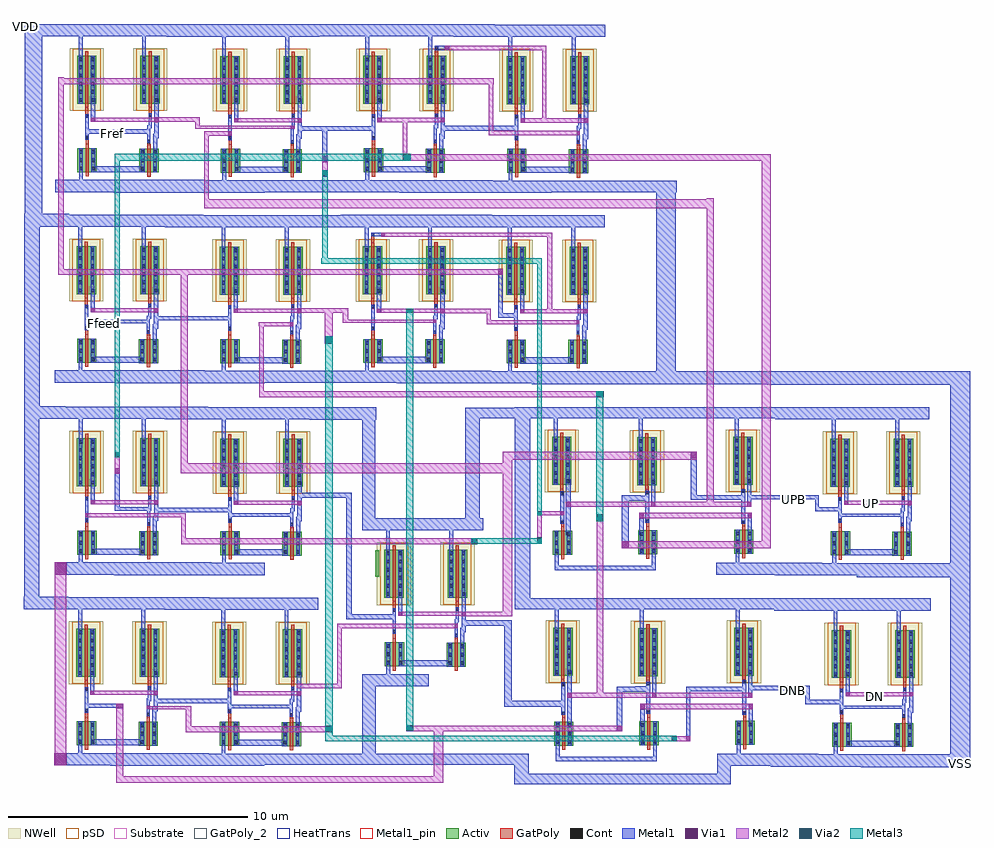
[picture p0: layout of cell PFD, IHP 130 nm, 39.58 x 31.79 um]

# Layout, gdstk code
import gdstk
lib = gdstk.Library(unit=1e-6, precision=5e-09)
def R(c, l, rs):  # rectangles x0, y0, x1, y1
    for r in rs: c.add(gdstk.rectangle(r[:2], r[2:], *l))
def A(c, l, x, y, w, h, nx, ny, dx, dy):  # array of equal rectangles
    R(c, l, [(x+i*dx, y+j*dy, x+i*dx+w, y+j*dy+h) for i in range(nx) for j in range(ny)])
Activ = (1, 0)
GatPoly = (5, 0)
GatPoly_2 = (5, 2)
Cont = (6, 0)
Metal1 = (8, 0)
Metal1_pin = (8, 2)
Metal2 = (10, 0)
pSD = (14, 0)
Via1 = (19, 0)
Via2 = (29, 0)
Metal3 = (30, 0)
NWell = (31, 0)
Substrate = (40, 0)
HeatTrans = (51, 0)

nmos_1 = lib.new_cell('nmos$1')
R(nmos_1, Activ, [(0,0,0.3,0.3), (0,0,0.81,1), (0.51,0,0.81,0.3)])
R(nmos_1, GatPoly, [(0.34,-0.18,0.47,1.18)])
R(nmos_1, GatPoly_2, [(0.34,-0.18,0.47,1.18)])
A(nmos_1, Cont, 0.07, 0.07, 0.16, 0.16, 1, 3, 0, 0.35)
A(nmos_1, Cont, 0.58, 0.07, 0.16, 0.16, 1, 3, 0, 0.35)
R(nmos_1, Metal1, [(0.07,0,0.23,1), (0.58,0,0.74,1)])
R(nmos_1, Metal1_pin, [(0.07,0,0.23,1), (0.58,0,0.74,1)])
R(nmos_1, HeatTrans, [(0.34,-0.18,0.47,1.18)])
nmos_1.add(gdstk.Label('nmos', (0.405,0.5), layer=63, texttype=0))
nmos_1.add(gdstk.Label('nmos', (0.405,0.5), layer=51, texttype=0))

pmos_1 = lib.new_cell('pmos$1')
R(pmos_1, Activ, [(0,0,0.3,0.3), (0,0,0.81,2), (0.51,0,0.81,0.3)])
R(pmos_1, GatPoly, [(0.34,-0.18,0.47,2.18), (0.34,-0.18,0.47,2.18)])
A(pmos_1, Cont, 0.07, 0.07, 0.16, 0.16, 1, 6, 0, 0.34)
A(pmos_1, Cont, 0.58, 0.07, 0.16, 0.16, 1, 6, 0, 0.34)
R(pmos_1, Metal1, [(0.07,0,0.23,2), (0.07,0,0.23,2), (0.58,0,0.74,2), (0.58,0,0.74,2)])
R(pmos_1, pSD, [(-0.18,-0.3,0.99,2.3)])
R(pmos_1, NWell, [(-0.31,-0.31,1.12,2.31)])
R(pmos_1, Substrate, [(0.51,0,0.81,0.3)])
R(pmos_1, HeatTrans, [(0.34,-0.18,0.47,2.18)])
pmos_1.add(gdstk.Label('pmos', (0.405,1), layer=63, texttype=0))
pmos_1.add(gdstk.Label('pmos', (0.405,1), layer=51, texttype=0))

pfd = lib.new_cell('PFD')
R(pfd, Activ, [(11.42,-19.135,11.58,-18.04)])
R(pfd, GatPoly, [(33.455,-25.19,33.58,-24.89), (7.85,-25.155,7.975,-24.855), (1.86,-25.135,1.985,-24.835), (30.87,-25.135,31,-24.725), (19.235,-25.12,19.37,-24.785), (22.795,-25.11,22.925,-24.725), (5.265,-25.1,5.395,-24.69), (26.81,-25.1,26.935,-24.775), (-0.725,-25.08,-0.595,-24.67), (30.855,-23.97,30.985,-23.5), (5.25,-23.935,5.38,-23.465), (33.505,-23.92,33.635,-23.46), (-0.74,-23.915,-0.61,-23.445), (7.9,-23.885,8.03,-23.425), (1.91,-23.865,2.04,-23.405), (19.2,-23.72,19.325,-23.36), (22.76,-23.685,22.895,-23.345), (26.775,-23.605,26.9,-23.35), (14.74,-21.83,14.865,-21.53), (12.155,-21.775,12.285,-21.365), (12.14,-20.61,12.27,-20.14), (14.79,-20.56,14.92,-20.1), (33.39,-17.19,33.515,-16.89), (7.87,-17.185,7.995,-16.885), (1.88,-17.165,2.005,-16.865), (19.19,-17.135,19.325,-16.8), (30.805,-17.135,30.935,-16.725), (5.285,-17.13,5.415,-16.72), (22.75,-17.125,22.88,-16.74), (26.765,-17.115,26.89,-16.79), (-0.705,-17.11,-0.575,-16.7), (30.79,-15.97,30.92,-15.5), (5.27,-15.965,5.4,-15.495), (-0.72,-15.945,-0.59,-15.475), (33.44,-15.92,33.57,-15.46), (7.92,-15.915,8.05,-15.455), (1.93,-15.895,2.06,-15.435), (19.155,-15.735,19.28,-15.375), (22.715,-15.7,22.85,-15.36), (26.73,-15.62,26.855,-15.365), (19.835,-9.165,19.96,-8.865), (7.86,-9.155,7.985,-8.855), (13.845,-9.145,13.97,-8.845), (1.87,-9.135,1.995,-8.835), (17.25,-9.11,17.38,-8.7), (5.275,-9.1,5.405,-8.69), (11.26,-9.09,11.39,-8.68), (-0.715,-9.08,-0.585,-8.67), (17.235,-7.945,17.365,-7.475), (5.26,-7.935,5.39,-7.465), (11.245,-7.925,11.375,-7.455), (-0.73,-7.915,-0.6,-7.445), (19.885,-7.895,20.015,-7.435), (7.91,-7.885,8.04,-7.425), (13.895,-7.875,14.025,-7.415), (1.92,-7.865,2.05,-7.405), (11.245,-5.27,11.375,-4.75), (19.855,-1.195,19.98,-0.895), (7.88,-1.185,8.005,-0.885), (13.865,-1.175,13.99,-0.875), (1.89,-1.165,2.015,-0.865), (17.27,-1.14,17.4,-0.73), (5.295,-1.13,5.425,-0.72), (11.28,-1.12,11.41,-0.71), (-0.695,-1.11,-0.565,-0.7), (17.255,0.025,17.385,0.495), (5.28,0.035,5.41,0.505), (11.265,0.045,11.395,0.515), (-0.71,0.055,-0.58,0.525), (19.905,0.075,20.035,0.535), (7.93,0.085,8.06,0.545), (13.915,0.095,14.045,0.555), (1.94,0.105,2.07,0.565), (13.915,2.675,14.045,3.06)])
R(pfd, Cont, [(33.455,-25.03,33.58,-24.895), (7.85,-24.995,7.975,-24.86), (1.86,-24.975,1.985,-24.84), (19.235,-24.91,19.37,-24.785), (26.81,-24.9,26.935,-24.78), (22.795,-24.875,22.925,-24.74), (30.87,-24.86,30.99,-24.725), (5.265,-24.825,5.385,-24.69), (-0.725,-24.805,-0.605,-24.67), (30.855,-23.965,30.985,-23.82), (5.25,-23.93,5.38,-23.785), (33.505,-23.92,33.63,-23.785), (-0.74,-23.91,-0.61,-23.765), (7.9,-23.885,8.025,-23.75), (1.91,-23.865,2.035,-23.73), (19.2,-23.72,19.32,-23.575), (22.76,-23.685,22.895,-23.54), (26.775,-23.605,26.9,-23.475), (14.74,-21.67,14.865,-21.535), (12.155,-21.5,12.275,-21.365), (12.14,-20.605,12.27,-20.46), (14.79,-20.56,14.915,-20.425), (33.39,-17.03,33.515,-16.895), (7.87,-17.025,7.995,-16.89), (1.88,-17.005,2.005,-16.87), (19.19,-16.925,19.325,-16.8), (26.765,-16.915,26.89,-16.795), (22.75,-16.89,22.88,-16.755), (30.805,-16.86,30.925,-16.725), (5.285,-16.855,5.405,-16.72), (-0.705,-16.835,-0.585,-16.7), (30.79,-15.965,30.92,-15.82), (5.27,-15.96,5.4,-15.815), (-0.72,-15.94,-0.59,-15.795), (33.44,-15.92,33.565,-15.785), (7.92,-15.915,8.045,-15.78), (1.93,-15.895,2.055,-15.76), (19.155,-15.735,19.275,-15.59), (22.715,-15.7,22.85,-15.555), (26.73,-15.62,26.855,-15.49), (19.835,-9.005,19.96,-8.87), (7.86,-8.995,7.985,-8.86), (13.845,-8.985,13.97,-8.85), (1.87,-8.975,1.995,-8.84), (17.25,-8.835,17.37,-8.7), (5.275,-8.825,5.395,-8.69), (11.26,-8.815,11.38,-8.68), (-0.715,-8.805,-0.595,-8.67), (17.235,-7.94,17.365,-7.795), (5.26,-7.93,5.39,-7.785), (11.245,-7.92,11.375,-7.775), (-0.73,-7.91,-0.6,-7.765), (19.885,-7.895,20.01,-7.76), (7.91,-7.885,8.035,-7.75), (13.895,-7.875,14.02,-7.74), (1.92,-7.865,2.045,-7.73), (11.245,-4.91,11.375,-4.75), (19.855,-1.035,19.98,-0.9), (7.88,-1.025,8.005,-0.89), (13.865,-1.015,13.99,-0.88), (1.89,-1.005,2.015,-0.87), (17.27,-0.865,17.39,-0.73), (5.295,-0.855,5.415,-0.72), (11.28,-0.845,11.4,-0.71), (-0.695,-0.835,-0.575,-0.7), (17.255,0.03,17.385,0.175), (5.28,0.04,5.41,0.185), (11.265,0.05,11.395,0.195), (-0.71,0.06,-0.58,0.205), (19.905,0.075,20.03,0.21), (7.93,0.085,8.055,0.22), (13.915,0.095,14.04,0.23), (1.94,0.105,2.065,0.24), (13.915,2.885,14.045,3.055)])
R(pfd, Metal1, [(17.23,-27.81,17.835,-26.535), (17.23,-27.81,26.29,-27.375), (25.715,-27.785,26.29,-26.54), (31.74,-27.11,36.3,-26.57), (35.47,-27.11,36.3,-18.57), (27.955,-27.08,29.955,-26.54), (29.59,-27.08,32.38,-26.57), (25.715,-27.05,28.505,-26.54), (0.345,-27.045,4.455,-26.515), (3.985,-27.045,6.775,-26.535), (-2.005,-27.025,0.785,-26.515), (5.95,-27.015,17.81,-26.535), (10.875,-27.015,11.43,-23.21), (30.6,-26.895,30.755,-26.04), (18.965,-26.865,19.13,-25.97), (4.995,-26.86,5.15,-26.005), (18.965,-26.86,23.195,-26.67), (23.035,-26.86,23.2,-25.935), (-0.995,-26.84,-0.84,-25.985), (26.54,-26.645,26.695,-25.97), (31.11,-26.25,33.345,-25.995), (5.505,-26.215,7.74,-25.96), (-0.485,-26.195,1.75,-25.94), (24.425,-26.025,24.6,-23.735), (21.515,-25.6,21.75,-23.75), (33.695,-25.475,33.86,-24.64), (8.09,-25.44,8.255,-24.605), (2.1,-25.42,2.265,-24.585), (19.44,-25.395,19.635,-23.05), (22.495,-25.395,22.685,-24.45), (27.045,-25.385,27.21,-24.455), (33.455,-25.025,33.58,-24.275), (7.85,-24.99,7.975,-24.24), (1.86,-24.97,1.985,-24.22), (19.2,-24.91,19.37,-23.56), (26.775,-24.91,26.935,-23.47), (30.855,-24.885,31,-23.82), (22.76,-24.865,22.925,-23.53), (5.25,-24.85,5.395,-23.785), (-0.74,-24.83,-0.595,-23.765), (33.695,-24.83,33.925,-24.645), (33.745,-24.83,33.925,-23.165), (8.09,-24.795,8.32,-24.61), (8.14,-24.795,8.32,-23.13), (2.1,-24.775,2.33,-24.59), (2.15,-24.775,2.33,-23.11), (30.855,-24.67,33.58,-24.535), (5.25,-24.65,7.975,-24.49), (-0.74,-24.63,0.87,-24.445), (16.815,-24.57,17.135,-20.96), (16.815,-24.57,19.37,-24.33), (29.395,-24.475,31,-24.28), (29.395,-24.475,29.595,-23.71), (2.15,-24.435,5.395,-24.255), (33.455,-24.41,33.635,-24.28), (33.505,-24.41,33.635,-23.785), (7.85,-24.375,8.03,-24.245), (7.9,-24.375,8.03,-23.75), (1.86,-24.355,2.04,-24.225), (1.91,-24.355,2.04,-23.73), (23,-24.205,23.165,-23.075), (27.015,-24.205,27.19,-23.055), (31.095,-24.14,31.27,-23.165), (5.49,-24.105,5.665,-23.13), (-0.5,-24.085,-0.325,-23.11), (21.52,-23.95,22.51,-23.75), (22.29,-23.95,22.925,-23.73), (24.425,-23.925,26.935,-23.735), (27.015,-23.89,29.585,-23.71), (10.875,-23.72,13.665,-23.21), (11.885,-23.535,12.04,-22.68), (12.395,-22.89,14.63,-22.635), (14.98,-22.115,15.145,-21.28), (14.74,-21.665,14.865,-20.915), (33.235,-21.615,33.395,-20.335), (30.585,-21.6,30.75,-20.36), (7.63,-21.58,7.79,-20.3), (4.98,-21.565,5.145,-20.325), (1.64,-21.56,1.8,-20.28), (-1.01,-21.545,-0.845,-20.305), (12.14,-21.525,12.285,-20.46), (22.49,-21.525,22.645,-20.39), (18.93,-21.5,19.09,-20.415), (26.505,-21.495,26.66,-20.4), (14.98,-21.47,15.21,-21.285), (15.03,-21.47,15.21,-19.805), (15.03,-21.19,17.135,-20.96), (14.74,-21.05,14.92,-20.92), (14.79,-21.05,14.92,-20.425), (10.195,-20.91,12.285,-20.715), (10.195,-20.905,10.445,-15.62), (12.38,-20.78,12.555,-19.805), (28.1,-20.56,29.86,-20.04), (29.59,-20.56,34.645,-20.05), (2.605,-20.525,4.47,-19.995), (3.985,-20.525,9.04,-20.015), (-3.28,-20.505,-1.42,-19.985), (-3.27,-20.505,-2.63,-12.015), (-2.005,-20.505,3.05,-19.995), (17.25,-20.505,17.9,-12.055), (17.555,-20.505,28.525,-20.04), (31.555,-19.165,36.3,-18.57), (35.47,-19.145,36.3,-10.545), (28.12,-19.08,30.1,-18.555), (29.525,-19.08,32.315,-18.57), (0.48,-19.075,4.555,-18.545), (4.005,-19.075,6.795,-18.565), (25.67,-19.065,28.46,-18.555), (-1.985,-19.055,0.805,-18.545), (30.535,-18.895,30.69,-18.04), (5.015,-18.89,5.17,-18.035), (18.92,-18.88,19.085,-17.985), (18.92,-18.875,23.15,-18.685), (22.99,-18.875,23.155,-17.95), (-0.975,-18.87,-0.82,-18.015), (26.495,-18.66,26.65,-17.985), (14.52,-18.255,14.68,-16.975), (31.045,-18.25,33.28,-17.995), (5.525,-18.245,7.76,-17.99), (11.87,-18.24,12.035,-17), (-0.465,-18.225,1.77,-17.97), (21.735,-17.955,22.03,-15.735), (33.63,-17.475,33.795,-16.64), (8.11,-17.47,8.275,-16.635), (2.12,-17.45,2.285,-16.615), (19.395,-17.41,19.59,-15.065), (22.45,-17.41,22.64,-16.465), (27,-17.4,27.165,-16.47), (10.875,-17.2,15.93,-16.69), (10.875,-17.2,11.415,-12.045), (15.19,-17.2,15.78,-12.09), (33.39,-17.025,33.515,-16.275), (7.87,-17.02,7.995,-16.27), (1.88,-17,2.005,-16.25), (19.155,-16.925,19.325,-15.575), (26.73,-16.925,26.89,-15.485), (30.79,-16.885,30.935,-15.82), (5.27,-16.88,5.415,-15.815), (22.715,-16.88,22.88,-15.545), (-0.72,-16.86,-0.575,-15.795), (33.63,-16.83,33.86,-16.645), (33.68,-16.83,33.86,-15.165), (8.11,-16.825,8.34,-16.64), (8.16,-16.825,8.34,-15.16), (2.12,-16.805,2.35,-16.62), (2.17,-16.805,2.35,-15.14), (5.27,-16.635,7.995,-16.485), (30.79,-16.63,33.515,-16.505), (2.17,-16.455,5.415,-16.25), (29.82,-16.41,30.935,-16.24), (29.82,-16.41,29.97,-15.735), (33.39,-16.41,33.57,-16.28), (33.44,-16.41,33.57,-15.785), (7.87,-16.405,8.05,-16.275), (7.92,-16.405,8.05,-15.78), (0.515,-16.385,0.73,-14.6), (0.515,-16.385,2.05,-16.24), (1.88,-16.385,2.06,-16.255), (1.93,-16.385,2.06,-15.76), (22.955,-16.22,23.12,-15.09), (26.97,-16.22,27.145,-15.07), (31.03,-16.14,31.205,-15.165), (5.51,-16.135,5.685,-15.16), (-0.48,-16.115,-0.305,-15.14), (21.735,-15.965,22.515,-15.735), (22.245,-15.965,22.88,-15.745), (24.62,-15.915,26.89,-15.73), (24.62,-15.915,24.87,-13.905), (26.97,-15.905,29.965,-15.735), (8.16,-15.83,10.445,-15.62), (33.17,-13.615,33.33,-12.335), (7.65,-13.61,7.81,-12.33), (30.52,-13.6,30.685,-12.36), (5,-13.595,5.165,-12.355), (1.66,-13.59,1.82,-12.31), (-0.99,-13.575,-0.825,-12.335), (22.445,-13.54,22.6,-12.405), (18.885,-13.515,19.045,-12.43), (26.46,-13.51,26.615,-12.415), (8.675,-12.57,11.45,-12.045), (28.145,-12.56,29.9,-12.055), (29.525,-12.56,34.58,-12.05), (2.605,-12.555,4.41,-12.025), (4.005,-12.555,9.06,-12.045), (-3.27,-12.535,-2.62,-3.955), (-3.08,-12.535,-1.55,-12.015), (-1.985,-12.535,3.07,-12.025), (15.19,-12.52,18.005,-12.07), (17.51,-12.52,28.48,-12.055), (27.82,-11.105,36.3,-10.545), (17.965,-11.085,28.525,-10.545), (23.175,-11.085,23.985,-2.575), (12.325,-11.055,16.275,-10.525), (15.97,-11.055,18.76,-10.545), (0.56,-11.045,4.295,-10.515), (3.995,-11.045,6.785,-10.535), (6.49,-11.035,10.325,-10.535), (9.98,-11.035,12.77,-10.525), (-1.995,-11.025,0.795,-10.515), (16.98,-10.87,17.135,-10.015), (5.005,-10.86,5.16,-10.005), (10.99,-10.85,11.145,-9.995), (-0.985,-10.84,-0.83,-9.985), (17.49,-10.225,19.725,-9.97), (5.515,-10.215,7.75,-9.96), (11.5,-10.205,13.735,-9.95), (-0.475,-10.195,1.76,-9.94), (20.075,-9.45,20.24,-8.615), (8.1,-9.44,8.265,-8.605), (14.085,-9.43,14.25,-8.595), (2.11,-9.42,2.275,-8.585), (19.835,-9,19.96,-8.25), (7.86,-8.99,7.985,-8.24), (13.845,-8.98,13.97,-8.23), (1.87,-8.97,1.995,-8.22), (17.235,-8.86,17.38,-7.795), (5.26,-8.85,5.405,-7.785), (11.245,-8.84,11.39,-7.775), (-0.73,-8.83,-0.585,-7.765), (20.075,-8.805,20.305,-8.62), (20.125,-8.805,20.305,-7.14), (8.1,-8.795,8.33,-8.61), (8.15,-8.795,8.33,-7.13), (14.085,-8.785,14.315,-8.6), (14.135,-8.785,14.315,-7.12), (2.11,-8.775,2.34,-8.59), (2.16,-8.775,2.34,-7.11), (-0.73,-8.53,1.995,-8.39), (2.16,-8.405,5.405,-8.24), (19.835,-8.385,20.015,-8.255), (19.885,-8.385,20.015,-7.76), (7.86,-8.375,8.04,-8.245), (7.91,-8.375,8.04,-7.75), (13.845,-8.365,14.025,-8.235), (13.895,-8.365,14.025,-7.74), (1.87,-8.355,2.05,-8.225), (1.92,-8.355,2.05,-7.73), (16.565,-8.3,16.75,-6.27), (16.575,-8.3,17.38,-8.12), (17.475,-8.115,17.65,-7.14), (5.5,-8.105,5.675,-7.13), (11.485,-8.095,11.66,-7.12), (-0.49,-8.085,-0.315,-7.11), (19.615,-5.59,19.775,-4.31), (7.64,-5.58,7.8,-4.3), (16.965,-5.575,17.13,-4.335), (13.625,-5.57,13.785,-4.29), (4.99,-5.565,5.155,-4.325), (1.65,-5.56,1.81,-4.28), (10.975,-5.555,11.14,-4.315), (-1,-5.545,-0.835,-4.305), (11.245,-4.91,11.805,-4.75), (14.695,-4.535,16.315,-4.005), (15.97,-4.535,21.025,-4.025), (2.64,-4.525,4.235,-3.995), (3.995,-4.525,9.05,-4.015), (8.725,-4.515,10.305,-4.015), (9.98,-4.515,15.035,-4.005), (-3.27,-4.505,-1.37,-3.955), (-3.25,-4.505,-2.505,3.975), (-1.995,-4.505,3.06,-3.995), (12.425,-3.085,16.33,-2.555), (15.99,-3.085,18.78,-2.575), (0.48,-3.075,4.315,-2.545), (4.015,-3.075,6.805,-2.565), (6.51,-3.065,10.265,-2.565), (10,-3.065,12.79,-2.555), (18.11,-3.06,24.035,-2.575), (-1.975,-3.055,0.815,-2.545), (17,-2.9,17.155,-2.045), (5.025,-2.89,5.18,-2.035), (11.01,-2.88,11.165,-2.025), (-0.965,-2.87,-0.81,-2.015), (17.51,-2.255,19.745,-2), (5.535,-2.245,7.77,-1.99), (11.52,-2.235,13.755,-1.98), (-0.455,-2.225,1.78,-1.97), (9.195,-1.8,9.42,-0.305), (20.095,-1.48,20.26,-0.645), (8.12,-1.47,8.285,-0.635), (14.105,-1.46,14.27,-0.625), (2.13,-1.45,2.295,-0.615), (19.855,-1.03,19.98,-0.28), (7.88,-1.02,8.005,-0.27), (13.865,-1.01,13.99,-0.26), (1.89,-1,2.015,-0.25), (17.255,-0.89,17.4,0.175), (5.28,-0.88,5.425,0.185), (11.265,-0.87,11.41,0.195), (-0.71,-0.86,-0.565,0.205), (20.095,-0.835,20.325,-0.65), (20.145,-0.835,20.325,0.83), (8.12,-0.825,8.35,-0.64), (8.17,-0.825,8.35,0.84), (14.105,-0.815,14.335,-0.63), (14.155,-0.815,14.335,0.85), (2.13,-0.805,2.36,-0.62), (2.18,-0.805,2.36,0.86), (-0.71,-0.605,2.015,-0.435), (8.17,-0.495,11.41,-0.305), (14.155,-0.495,17.4,-0.285), (19.855,-0.415,20.035,-0.285), (19.905,-0.415,20.035,0.21), (7.88,-0.405,8.06,-0.275), (7.93,-0.405,8.06,0.22), (13.865,-0.395,14.045,-0.265), (13.915,-0.395,14.045,0.23), (1.89,-0.385,2.07,-0.255), (1.94,-0.385,2.07,0.24), (17.495,-0.145,17.67,0.83), (5.52,-0.135,5.695,0.84), (11.505,-0.125,11.68,0.85), (-0.47,-0.115,-0.295,0.86), (19.635,2.38,19.795,3.66), (7.66,2.39,7.82,3.67), (16.985,2.395,17.15,3.635), (13.645,2.4,13.805,3.68), (5.01,2.405,5.175,3.645), (1.67,2.41,1.83,3.69), (10.995,2.415,11.16,3.655), (-0.98,2.425,-0.815,3.665), (13.915,2.885,14.52,3.06), (14.695,3.435,16.41,3.965), (15.99,3.435,21.045,3.945), (2.695,3.445,4.355,3.975), (4.015,3.445,9.07,3.955), (8.685,3.455,10.4,3.955), (10,3.455,15.055,3.965), (-3.25,3.465,-1.47,3.975), (-1.975,3.465,3.08,3.975)])
R(pfd, Metal2, [(0.59,-27.765,14.255,-27.485), (0.59,-27.765,0.87,-24.45), (13.875,-27.765,14.255,-25.37), (-1.985,-27.025,-1.495,-18.545), (23.825,-26.025,24.6,-25.805), (3.495,-25.65,3.72,-24.55), (3.505,-25.65,9.65,-25.39), (12.725,-25.6,21.745,-25.37), (22.495,-24.69,27.21,-24.455), (1.86,-24.685,3.72,-24.555), (19.445,-24.205,27.195,-23.985), (20.68,-24.205,20.96,-16.52), (31.095,-24.14,33.925,-23.97), (5.49,-24.105,8.32,-23.935), (-0.5,-24.085,2.33,-23.915), (8.14,-23.815,10.02,-23.615), (9.82,-23.815,10.02,-21.11), (9.82,-21.29,14.865,-21.11), (15.01,-20.79,17.145,-20.61), (16.75,-20.79,17.145,-13.935), (12.38,-20.78,15.21,-20.61), (21.725,-17.955,27.955,-17.66), (27.59,-17.955,27.955,-1.47), (3.305,-17.78,15.685,-17.53), (3.305,-17.77,3.5,-16.585), (18.195,-17.77,18.385,-16.41), (22.45,-16.705,27.165,-16.47), (-0.72,-16.645,3.5,-16.495), (18.195,-16.58,19.325,-16.405), (19.4,-16.22,27.15,-16), (25.28,-16.22,25.565,-3.315), (31.03,-16.14,33.86,-15.97), (5.51,-16.135,8.34,-15.965), (-0.48,-16.115,2.35,-15.945), (0.515,-14.83,0.735,-13.935), (3.285,-14.82,3.585,-6.285), (3.315,-14.82,17.145,-14.4), (16.75,-14.245,24.87,-13.915), (6.575,-11.625,20.975,-11.38), (6.575,-11.6,6.755,-8.5), (9.315,-9.39,9.65,-7.91), (6.555,-8.665,7.985,-8.5), (16.08,-8.585,19.96,-8.415), (16.085,-8.585,16.24,-7.925), (10.055,-8.525,10.28,-7.91), (10.065,-8.525,13.97,-8.385), (14.13,-8.125,16.23,-7.925), (17.475,-8.115,20.305,-7.945), (18.615,-8.115,18.82,-4.75), (8.15,-8.11,10.28,-7.91), (5.5,-8.105,8.33,-7.935), (11.485,-8.095,14.315,-7.925), (-0.49,-8.085,2.34,-7.915), (-1.85,-6.515,16.75,-6.285), (-1.85,-6.515,-1.6,1.755), (11.66,-4.93,18.81,-4.75), (4.265,-3.735,25.565,-3.35), (4.265,-3.735,4.46,-0.515), (9.195,-2.405,9.425,-1.54), (12.575,-1.745,27.925,-1.47), (12.575,-1.725,12.76,0.045), (4.28,-0.7,5.425,-0.515), (16.165,-0.68,16.355,1.715), (16.17,-0.68,19.98,-0.495), (3.88,-0.405,4.075,0.07), (3.885,-0.405,8.06,-0.27), (17.495,-0.145,20.325,0.025), (18.4,-0.145,18.575,3.06), (5.52,-0.135,8.35,0.035), (11.505,-0.125,14.335,0.045), (-0.47,-0.115,2.36,0.055), (2.18,-0.115,4.075,0.07), (-1.85,1.445,16.365,1.715), (14.34,2.885,18.58,3.06)])
R(pfd, Via1, [(-2.005,-27.025,-1.49,-26.515), (24.425,-26.02,24.6,-25.81), (21.525,-25.6,21.745,-25.37), (22.495,-24.695,22.685,-24.45), (27.06,-24.69,27.21,-24.455), (1.86,-24.685,1.985,-24.545), (0.59,-24.635,0.87,-24.45), (23,-24.205,23.165,-23.985), (27.02,-24.205,27.195,-23.985), (19.44,-24.2,19.635,-23.985), (33.745,-24.15,33.925,-23.975), (31.095,-24.14,31.27,-23.97), (8.14,-24.115,8.32,-23.94), (5.49,-24.105,5.665,-23.935), (2.15,-24.095,2.33,-23.92), (-0.5,-24.085,-0.325,-23.915), (14.74,-21.29,14.865,-21.115), (15.03,-20.79,15.21,-20.615), (12.38,-20.78,12.555,-20.61), (-1.985,-19.055,-1.49,-18.555), (21.725,-17.955,22.03,-17.66), (22.45,-16.71,22.64,-16.465), (27.015,-16.705,27.165,-16.47), (-0.72,-16.645,-0.575,-16.495), (19.155,-16.57,19.325,-16.395), (22.955,-16.22,23.12,-16), (26.975,-16.22,27.15,-16), (19.395,-16.215,19.59,-16), (33.68,-16.15,33.86,-15.975), (8.16,-16.145,8.34,-15.97), (31.03,-16.14,31.205,-15.97), (5.51,-16.135,5.685,-15.965), (2.17,-16.125,2.35,-15.95), (-0.48,-16.115,-0.305,-15.945), (0.515,-14.83,0.735,-14.605), (24.62,-14.195,24.87,-13.905), (7.865,-8.665,7.985,-8.5), (19.835,-8.585,19.96,-8.425), (13.845,-8.525,13.97,-8.39), (20.125,-8.125,20.305,-7.95), (8.15,-8.115,8.33,-7.94), (17.475,-8.115,17.65,-7.945), (5.5,-8.105,5.675,-7.935), (14.135,-8.105,14.315,-7.93), (2.16,-8.095,2.34,-7.92), (11.485,-8.095,11.66,-7.925), (-0.49,-8.085,-0.315,-7.915), (16.565,-6.515,16.75,-6.27), (11.665,-4.91,11.805,-4.75), (9.195,-1.8,9.425,-1.55), (5.28,-0.7,5.425,-0.515), (19.855,-0.675,19.98,-0.5), (7.88,-0.405,8.055,-0.27), (20.145,-0.155,20.325,0.02), (8.17,-0.145,8.35,0.03), (17.495,-0.145,17.67,0.025), (5.52,-0.135,5.695,0.035), (14.155,-0.135,14.335,0.04), (2.18,-0.125,2.36,0.05), (11.505,-0.125,11.68,0.045), (-0.47,-0.115,-0.295,0.055), (14.335,2.885,14.515,3.06)])
R(pfd, Via2, [(23.825,-26.025,24.02,-25.805), (9.325,-25.63,9.65,-25.38), (12.725,-25.59,13.015,-25.36), (15.445,-17.78,15.68,-17.53), (18.195,-17.77,18.385,-17.49), (20.68,-16.815,20.96,-16.52), (18.195,-16.575,18.38,-16.405), (0.515,-14.135,0.74,-13.925), (20.655,-11.625,20.975,-11.38), (9.325,-9.395,9.65,-9.075), (12.735,-8.095,13.01,-7.925), (9.195,-2.4,9.425,-2.15), (12.58,-1.745,12.9,-1.47)])
R(pfd, Metal3, [(9.325,-26.025,9.65,-9.075), (9.36,-26.025,24.035,-25.795), (12.725,-25.59,13.015,-7.925), (15.44,-17.77,18.385,-17.53), (20.665,-16.815,20.96,-11.38), (18.195,-16.575,18.38,-5.82), (0.515,-14.135,0.74,-1.46), (9.17,-6.05,18.38,-5.82), (9.195,-6.05,9.425,-2.15), (0.515,-1.745,12.905,-1.46)])
pfd.add(gdstk.Reference(nmos_1, (1.55,-2.235)))
pfd.add(gdstk.Reference(nmos_1, (-1.035,-2.22)))
pfd.add(gdstk.Reference(pmos_1, (1.6,0.65)))
pfd.add(gdstk.Reference(pmos_1, (-1.05,0.65)))
pfd.add(gdstk.Reference(nmos_1, (7.54,-2.255)))
pfd.add(gdstk.Reference(nmos_1, (4.955,-2.24)))
pfd.add(gdstk.Reference(pmos_1, (7.59,0.63)))
pfd.add(gdstk.Reference(pmos_1, (4.94,0.63)))
pfd.add(gdstk.Reference(nmos_1, (1.53,-10.205)))
pfd.add(gdstk.Reference(nmos_1, (-1.055,-10.19)))
pfd.add(gdstk.Reference(pmos_1, (1.58,-7.32)))
pfd.add(gdstk.Reference(pmos_1, (-1.07,-7.32)))
pfd.add(gdstk.Reference(nmos_1, (7.52,-10.225)))
pfd.add(gdstk.Reference(nmos_1, (4.935,-10.21)))
pfd.add(gdstk.Reference(pmos_1, (7.57,-7.34)))
pfd.add(gdstk.Reference(pmos_1, (4.92,-7.34)))
pfd.add(gdstk.Reference(nmos_1, (13.525,-2.245)))
pfd.add(gdstk.Reference(nmos_1, (10.94,-2.23)))
pfd.add(gdstk.Reference(pmos_1, (13.575,0.64)))
pfd.add(gdstk.Reference(pmos_1, (10.925,0.64)))
pfd.add(gdstk.Reference(nmos_1, (19.515,-2.265)))
pfd.add(gdstk.Reference(nmos_1, (16.93,-2.25)))
pfd.add(gdstk.Reference(pmos_1, (19.565,0.62)))
pfd.add(gdstk.Reference(pmos_1, (16.915,0.62)))
pfd.add(gdstk.Reference(nmos_1, (13.505,-10.215)))
pfd.add(gdstk.Reference(nmos_1, (10.92,-10.2)))
pfd.add(gdstk.Reference(pmos_1, (13.555,-7.33)))
pfd.add(gdstk.Reference(pmos_1, (10.905,-7.33)))
pfd.add(gdstk.Reference(nmos_1, (19.495,-10.235)))
pfd.add(gdstk.Reference(nmos_1, (16.91,-10.22)))
pfd.add(gdstk.Reference(pmos_1, (19.545,-7.35)))
pfd.add(gdstk.Reference(pmos_1, (16.895,-7.35)))
pfd.add(gdstk.Reference(nmos_1, (1.54,-18.235)))
pfd.add(gdstk.Reference(nmos_1, (-1.045,-18.22)))
pfd.add(gdstk.Reference(pmos_1, (1.59,-15.35)))
pfd.add(gdstk.Reference(pmos_1, (-1.06,-15.35)))
pfd.add(gdstk.Reference(nmos_1, (7.53,-18.255)))
pfd.add(gdstk.Reference(nmos_1, (4.945,-18.24)))
pfd.add(gdstk.Reference(pmos_1, (7.58,-15.37)))
pfd.add(gdstk.Reference(pmos_1, (4.93,-15.37)))
pfd.add(gdstk.Reference(nmos_1, (1.52,-26.205)))
pfd.add(gdstk.Reference(nmos_1, (-1.065,-26.19)))
pfd.add(gdstk.Reference(pmos_1, (1.57,-23.32)))
pfd.add(gdstk.Reference(pmos_1, (-1.08,-23.32)))
pfd.add(gdstk.Reference(nmos_1, (7.51,-26.225)))
pfd.add(gdstk.Reference(nmos_1, (4.925,-26.21)))
pfd.add(gdstk.Reference(pmos_1, (7.56,-23.34)))
pfd.add(gdstk.Reference(pmos_1, (4.91,-23.34)))
pfd.add(gdstk.Reference(pmos_1, (18.815,-15.295)))
pfd.add(gdstk.Reference(pmos_1, (26.39,-15.295)))
pfd.add(gdstk.Reference(pmos_1, (22.375,-15.315)))
pfd.add(gdstk.Reference(nmos_1, (18.85,-18.22)))
pfd.add(gdstk.Reference(nmos_1, (22.41,-18.205)))
pfd.add(gdstk.Reference(nmos_1, (26.425,-18.185)))
pfd.add(gdstk.Reference(pmos_1, (18.86,-23.28)))
pfd.add(gdstk.Reference(pmos_1, (26.435,-23.28)))
pfd.add(gdstk.Reference(pmos_1, (22.42,-23.3)))
pfd.add(gdstk.Reference(nmos_1, (18.895,-26.205)))
pfd.add(gdstk.Reference(nmos_1, (22.455,-26.19)))
pfd.add(gdstk.Reference(nmos_1, (26.47,-26.17)))
pfd.add(gdstk.Reference(nmos_1, (33.05,-18.26)))
pfd.add(gdstk.Reference(nmos_1, (30.465,-18.245)))
pfd.add(gdstk.Reference(pmos_1, (33.1,-15.375)))
pfd.add(gdstk.Reference(pmos_1, (30.45,-15.375)))
pfd.add(gdstk.Reference(nmos_1, (33.115,-26.26)))
pfd.add(gdstk.Reference(nmos_1, (30.53,-26.245)))
pfd.add(gdstk.Reference(pmos_1, (33.165,-23.375)))
pfd.add(gdstk.Reference(pmos_1, (30.515,-23.375)))
pfd.add(gdstk.Reference(nmos_1, (14.4,-22.9)))
pfd.add(gdstk.Reference(nmos_1, (11.815,-22.885)))
pfd.add(gdstk.Reference(pmos_1, (14.45,-20.015)))
pfd.add(gdstk.Reference(pmos_1, (11.8,-20.015)))
pfd.add(gdstk.Label('VDD', (-3.2,3.86), layer=8, texttype=0))
pfd.add(gdstk.Label('VSS', (35.915,-26.965), layer=8, texttype=0))
pfd.add(gdstk.Label('Fref', (0.425,-0.605), layer=8, texttype=0))
pfd.add(gdstk.Label('Ffeed', (0.11,-8.53), layer=8, texttype=0))
pfd.add(gdstk.Label('UPB', (28.925,-15.905), layer=8, texttype=0))
pfd.add(gdstk.Label('DNB', (28.865,-23.89), layer=8, texttype=0))
pfd.add(gdstk.Label('UP', (32.15,-16.09), layer=10, texttype=0))
pfd.add(gdstk.Label('DN', (32.29,-24.14), layer=10, texttype=0))

lib.write_gds('PFD.gds')
